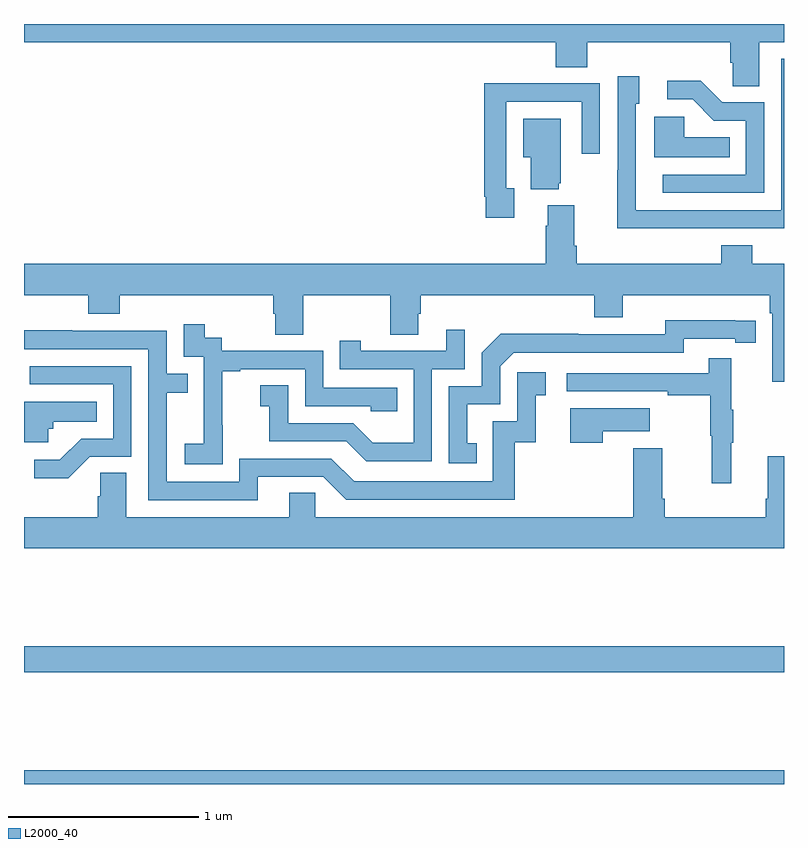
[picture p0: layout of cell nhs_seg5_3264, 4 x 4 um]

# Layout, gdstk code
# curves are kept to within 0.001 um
import gdstk
lib = gdstk.Library(unit=1e-6, precision=1e-09)
def R(c, l, rs):  # rectangles x0, y0, x1, y1
    for r in rs: c.add(gdstk.rectangle(r[:2], r[2:], *l))
def P(c, l, *ps):  # polygons
    for p in ps: c.add(gdstk.Polygon(p, *l))
L2000_40 = (2000, 40)

nhs_seg5_3264 = lib.new_cell('nhs_seg5_3264')
R(nhs_seg5_3264, L2000_40, [(299,908.799,303,908.872), (299,909.388,303,909.524)])
P(nhs_seg5_3264, L2000_40, [(302.869,912.704),(303,912.704),(303,912.799),(299,912.799),(299,912.704),(301.799,912.704),(301.799,912.571),(301.964,912.571),(301.964,912.704),(302.717,912.704),(302.717,912.595),(302.73,912.595),(302.73,912.472),(302.869,912.472)],
  [(302.585,911.724),(303,911.724),(303,912.615),(302.985,912.615),(302.985,911.82),(302.221,911.82),(302.221,912.074),(302.22,912.074),(302.22,912.378),(302.239,912.378),(302.239,912.523),(302.124,912.523),(302.124,912.029),(302.122,912.029),(302.122,911.723),(302.585,911.723)],
  [(302.895,912.387),(302.676,912.387),(302.563,912.5),(302.385,912.5),(302.385,912.402),(302.519,912.402),(302.63,912.291),(302.799,912.291),(302.799,912.006),(302.361,912.006),(302.361,911.91),(302.895,911.91)],
  [(301.579,911.934),(301.539,911.934),(301.539,912.39),(301.935,912.39),(301.935,912.117),(302.031,912.117),(302.031,912.486),(301.715,912.486),(301.715,912.488),(301.423,912.488),(301.423,911.89),(301.431,911.89),(301.431,911.778),(301.579,911.778)],
  [(302.714,912.202),(302.475,912.202),(302.475,912.31),(302.318,912.31),(302.318,912.098),(302.714,912.098)],
  [(301.814,911.961),(301.825,911.961),(301.825,912.301),(301.628,912.301),(301.628,912.098),(301.667,912.098),(301.667,911.93),(301.814,911.93)],
  [(302.924,911.276),(302.937,911.276),(302.937,910.917),(303,910.917),(303,911.536),(302.834,911.536),(302.834,911.635),(302.669,911.635),(302.669,911.536),(301.91,911.536),(301.91,911.632),(301.897,911.632),(301.897,911.845),(301.757,911.845),(301.757,911.738),(301.745,911.738),(301.745,911.536),(299,911.536),(299,911.372),(299.339,911.372),(299.339,911.273),(299.504,911.273),(299.504,911.372),(300.311,911.372),(300.311,911.274),(300.323,911.274),(300.323,911.164),(300.471,911.164),(300.471,911.372),(300.928,911.372),(300.928,911.164),(301.075,911.164),(301.075,911.274),(301.088,911.274),(301.088,911.372),(302,911.372),(302,911.255),(302.152,911.255),(302.152,911.372),(302.924,911.372)],
  [(301.382,910.593),(301.333,910.593),(301.333,910.797),(301.506,910.797),(301.506,910.998),(301.578,911.07),(302.472,911.07),(302.472,911.142),(302.744,911.142),(302.744,911.122),(302.852,911.122),(302.852,911.238),(302.376,911.239),(302.376,911.166),(301.916,911.166),(301.916,911.168),(301.508,911.168),(301.41,911.07),(301.41,910.893),(301.236,910.893),(301.236,910.488),(301.382,910.488)],
  [(300.045,910.687),(300.044,910.687),(300.044,910.971),(300.139,910.971),(300.139,910.983),(300.48,910.983),(300.48,910.788),(300.825,910.788),(300.825,910.761),(300.965,910.761),(300.965,910.884),(300.576,910.884),(300.576,911.079),(300.042,911.079),(300.042,911.148),(299.95,911.148),(299.95,911.218),(299.841,911.218),(299.841,911.049),(299.946,911.049),(299.946,910.82),(299.945,910.82),(299.945,910.591),(299.847,910.591),(299.847,910.481),(300.045,910.481)],
  [(301.146,910.983),(301.32,910.983),(301.32,911.191),(301.223,911.191),(301.223,911.079),(300.772,911.079),(300.772,911.131),(300.661,911.131),(300.661,910.983),(301.05,910.983),(301.05,910.594),(300.836,910.594),(300.732,910.698),(300.39,910.698),(300.39,910.897),(300.243,910.897),(300.243,910.787),(300.292,910.787),(300.292,910.602),(300.695,910.602),(300.8,910.497),(301.146,910.497)],
  [(300.229,910.416),(300.576,910.416),(300.696,910.296),(301.583,910.296),(301.583,910.599),(301.694,910.599),(301.694,910.845),(301.747,910.845),(301.747,910.966),(301.596,910.966),(301.596,910.707),(301.467,910.707),(301.467,910.392),(300.738,910.392),(300.618,910.512),(300.132,910.512),(300.132,910.389),(299.751,910.389),(299.751,910.858),(299.861,910.858),(299.861,910.959),(299.751,910.959),(299.751,911.184),(299.255,911.184),(299.255,911.186),(299,911.186),(299,911.088),(299.655,911.088),(299.655,910.293),(300.229,910.293)],
  [(302.723,910.595),(302.734,910.595),(302.734,910.769),(302.723,910.769),(302.723,911.041),(302.605,911.041),(302.605,910.962),(301.857,910.962),(301.857,910.866),(302.389,910.866),(302.389,910.846),(302.613,910.846),(302.613,910.632),(302.62,910.632),(302.62,910.383),(302.723,910.383)],
  [(299.346,910.521),(299.565,910.521),(299.565,910.998),(299.031,910.998),(299.031,910.902),(299.469,910.902),(299.469,910.617),(299.3,910.617),(299.189,910.506),(299.055,910.506),(299.055,910.409),(299.233,910.409)],
  [(299.127,910.668),(299.154,910.668),(299.154,910.706),(299.384,910.706),(299.384,910.81),(299,910.81),(299,910.598),(299.127,910.598)],
  [(302.045,910.655),(302.293,910.655),(302.293,910.777),(301.874,910.777),(301.874,910.596),(302.045,910.596)],
  [(303,910.525),(302.915,910.525),(302.915,910.3),(302.903,910.3),(302.903,910.204),(302.372,910.204),(302.372,910.3),(302.359,910.3),(302.359,910.567),(302.207,910.567),(302.207,910.204),(300.534,910.204),(300.534,910.331),(300.395,910.331),(300.395,910.204),(299.539,910.204),(299.539,910.436),(299.4,910.436),(299.4,910.313),(299.387,910.313),(299.387,910.204),(299,910.204),(299,910.04),(303,910.04)])

lib.write_gds('nhs_seg5_3264.gds')
